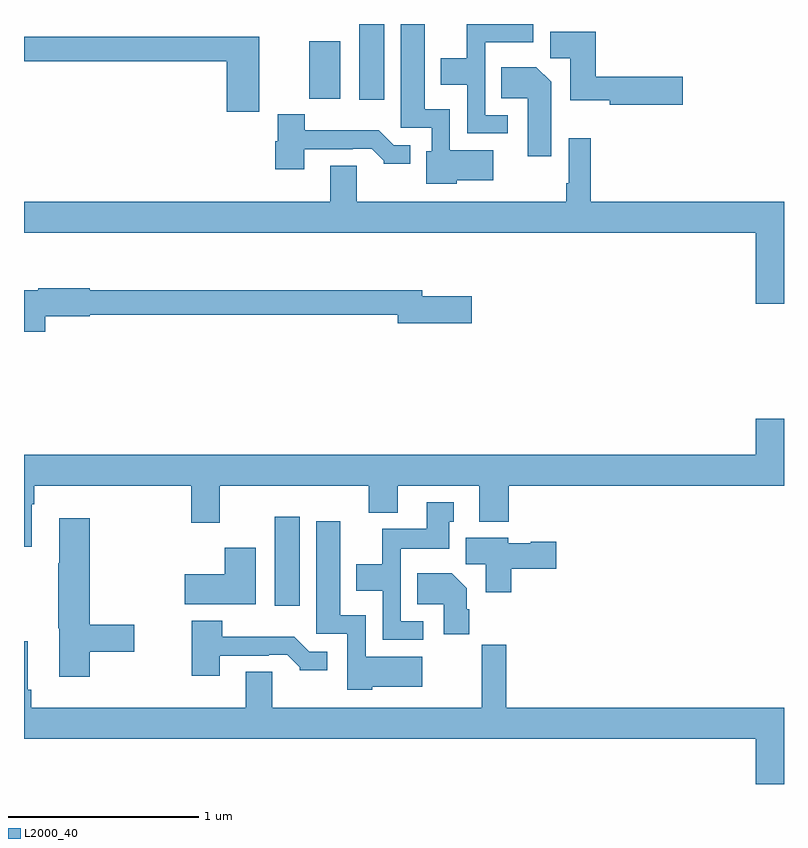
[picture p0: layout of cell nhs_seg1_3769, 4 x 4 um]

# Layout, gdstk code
import gdstk
lib = gdstk.Library(unit=1e-6, precision=1e-09)
def R(c, l, rs):  # rectangles x0, y0, x1, y1
    for r in rs: c.add(gdstk.rectangle(r[:2], r[2:], *l))
def P(c, l, *ps):  # polygons
    for p in ps: c.add(gdstk.Polygon(p, *l))
L2000_40 = (2000, 40)

nhs_seg1_3769 = lib.new_cell('nhs_seg1_3769')
R(nhs_seg1_3769, L2000_40, [(318.32,515.136,318.451,515.605), (318.764,517.8,318.895,518.199)])
P(nhs_seg1_3769, L2000_40, [(319.546,517.719),(319.428,517.719),(319.428,518.102),(319.681,518.102),(319.681,518.199),(319.33,518.199),(319.33,518.02),(319.193,518.02),(319.193,517.88),(319.332,517.88),(319.332,517.623),(319.546,517.623)],
  [(319.278,517.376),(319.471,517.376),(319.471,517.534),(319.242,517.534),(319.242,517.75),(319.108,517.75),(319.108,518.199),(318.983,518.199),(318.983,517.653),(319.146,517.653),(319.146,517.53),(319.118,517.53),(319.118,517.358),(319.278,517.358)],
  [(320.467,517.922),(320.009,517.922),(320.009,518.158),(319.769,518.158),(319.769,518.02),(319.874,518.02),(319.874,517.799),(320.082,517.799),(320.082,517.775),(320.467,517.775)],
  [(318.238,518.131),(317,518.131),(317,518.002),(318.068,518.002),(318.068,517.737),(318.238,517.737)],
  [(318.664,518.107),(318.5,518.107),(318.5,517.953),(318.502,517.953),(318.502,517.805),(318.664,517.805)],
  [(319.774,517.894),(319.696,517.972),(319.513,517.972),(319.513,517.808),(319.652,517.808),(319.652,517.503),(319.774,517.503)],
  [(318.475,517.539),(318.731,517.539),(318.731,517.542),(318.83,517.542),(318.894,517.478),(318.894,517.463),(319.033,517.463),(319.033,517.56),(318.945,517.56),(318.867,517.639),(318.478,517.639),(318.478,517.723),(318.335,517.723),(318.335,517.581),(318.323,517.581),(318.323,517.434),(318.475,517.434)],
  [(321,517.264),(319.982,517.264),(319.982,517.597),(319.866,517.597),(319.866,517.36),(319.854,517.36),(319.854,517.264),(318.751,517.264),(318.751,517.454),(318.611,517.454),(318.611,517.264),(317,517.264),(317,517.1),(320.852,517.1),(320.852,516.726),(321,516.726)],
  [(317.111,516.662),(317.346,516.662),(317.346,516.67),(318.968,516.67),(318.968,516.623),(319.357,516.623),(319.357,516.765),(319.096,516.765),(319.096,516.799),(317.346,516.799),(317.346,516.807),(317.074,516.807),(317.074,516.799),(317,516.799),(317,516.579),(317.111,516.579)],
  [(317.041,515.672),(317.054,515.672),(317.054,515.768),(317.879,515.768),(317.879,515.574),(318.031,515.574),(318.031,515.768),(318.815,515.768),(318.815,515.627),(318.967,515.627),(318.967,515.768),(319.397,515.768),(319.397,515.579),(319.55,515.579),(319.55,515.768),(321,515.768),(321,516.121),(320.852,516.121),(320.852,515.932),(317,515.932),(317,515.448),(317.041,515.448)],
  [(319.102,515.055),(318.984,515.055),(318.984,515.438),(319.237,515.438),(319.237,515.58),(319.261,515.58),(319.261,515.683),(319.121,515.683),(319.121,515.542),(318.886,515.542),(318.886,515.356),(318.749,515.356),(318.749,515.216),(318.888,515.216),(318.888,514.959),(319.102,514.959)],
  [(317.345,514.894),(317.581,514.894),(317.581,515.036),(317.345,515.036),(317.345,515.599),(317.186,515.599),(317.186,515.36),(317.179,515.36),(317.179,515.019),(317.186,515.019),(317.186,514.764),(317.345,514.764)],
  [(318.834,514.712),(319.096,514.712),(319.096,514.87),(318.798,514.87),(318.798,515.086),(318.664,515.086),(318.664,515.581),(318.539,515.581),(318.539,514.989),(318.702,514.989),(318.702,514.694),(318.834,514.694)],
  [(319.565,515.333),(319.801,515.333),(319.801,515.475),(319.668,515.475),(319.668,515.467),(319.548,515.467),(319.548,515.494),(319.325,515.494),(319.325,515.356),(319.43,515.356),(319.43,515.208),(319.565,515.208)],
  [(318.22,515.443),(318.056,515.443),(318.056,515.302),(317.847,515.302),(317.847,515.144),(318.22,515.144)],
  [(319.343,515.12),(319.33,515.12),(319.33,515.23),(319.252,515.308),(319.069,515.308),(319.069,515.144),(319.208,515.144),(319.208,514.986),(319.343,514.986)],
  [(318.031,514.875),(318.287,514.875),(318.287,514.878),(318.386,514.878),(318.45,514.814),(318.45,514.799),(318.595,514.799),(318.595,514.896),(318.501,514.896),(318.423,514.975),(318.044,514.975),(318.044,515.059),(317.884,515.059),(317.884,514.77),(318.031,514.77)],
  [(321,514.6),(319.538,514.6),(319.538,514.933),(319.41,514.933),(319.41,514.6),(318.307,514.6),(318.307,514.79),(318.167,514.79),(318.167,514.6),(317.039,514.6),(317.039,514.696),(317.02,514.696),(317.02,514.951),(317,514.951),(317,514.436),(320.852,514.436),(320.852,514.199),(321,514.199)])

lib.write_gds('nhs_seg1_3769.gds')
